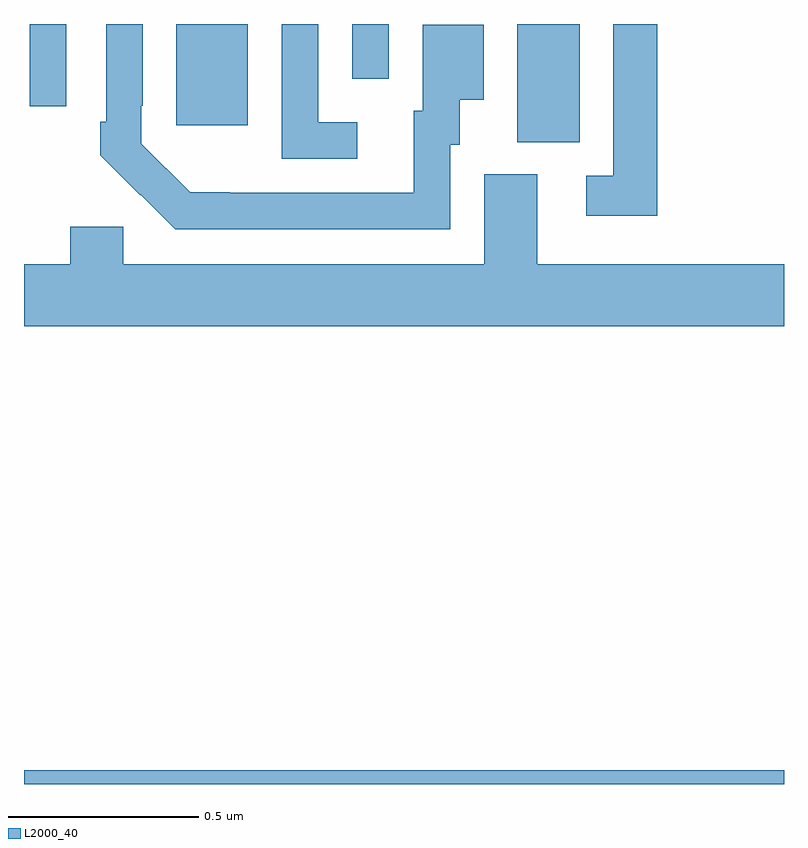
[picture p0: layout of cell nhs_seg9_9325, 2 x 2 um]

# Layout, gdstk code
import gdstk
lib = gdstk.Library(unit=1e-6, precision=1e-09)
def R(c, l, rs):  # rectangles x0, y0, x1, y1
    for r in rs: c.add(gdstk.rectangle(r[:2], r[2:], *l))
def P(c, l, *ps):  # polygons
    for p in ps: c.add(gdstk.Polygon(p, *l))
L2000_40 = (2000, 40)

nhs_seg9_9325 = lib.new_cell('nhs_seg9_9325')
R(nhs_seg9_9325, L2000_40, [(228,1244.5,230,1244.536), (229.298,1246.189,229.462,1246.5), (228.401,1246.233,228.589,1246.5), (228.015,1246.284,228.111,1246.5), (228.864,1246.356,228.96,1246.5)])
P(nhs_seg9_9325, L2000_40, [(229.122,1246.182),(229.147,1246.182),(229.147,1246.301),(229.21,1246.301),(229.21,1246.498),(229.049,1246.498),(229.049,1246.272),(229.025,1246.272),(229.025,1246.056),(228.541,1246.056),(228.541,1246.057),(228.438,1246.057),(228.309,1246.185),(228.309,1246.285),(228.312,1246.285),(228.312,1246.5),(228.216,1246.5),(228.216,1246.243),(228.201,1246.243),(228.201,1246.155),(228.306,1246.05),(228.307,1246.051),(228.398,1245.96),(229.122,1245.96)],
  [(228.877,1246.242),(228.774,1246.242),(228.774,1246.5),(228.678,1246.5),(228.678,1246.146),(228.877,1246.146)],
  [(229.667,1246.5),(229.551,1246.5),(229.551,1246.101),(229.479,1246.101),(229.479,1245.996),(229.667,1245.996)],
  [(230,1245.868),(229.351,1245.868),(229.351,1246.104),(229.211,1246.104),(229.211,1245.868),(228.261,1245.868),(228.261,1245.966),(228.122,1245.966),(228.122,1245.868),(228,1245.868),(228,1245.704),(230,1245.704)])

lib.write_gds('nhs_seg9_9325.gds')
